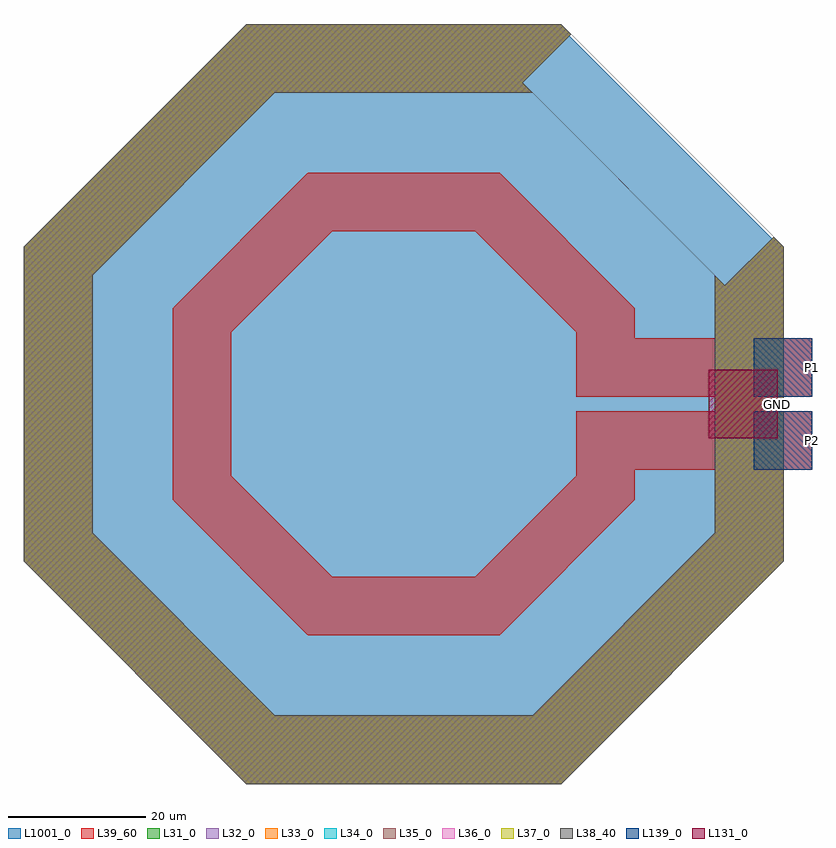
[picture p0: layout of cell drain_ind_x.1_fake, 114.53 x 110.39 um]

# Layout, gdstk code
import gdstk
lib = gdstk.Library(unit=1e-6, precision=1e-09)
def R(c, l, rs):  # rectangles x0, y0, x1, y1
    for r in rs: c.add(gdstk.rectangle(r[:2], r[2:], *l))
def P(c, l, *ps):  # polygons
    for p in ps: c.add(gdstk.Polygon(p, *l))
L31_0 = (31, 0)
L32_0 = (32, 0)
L33_0 = (33, 0)
L34_0 = (34, 0)
L35_0 = (35, 0)
L36_0 = (36, 0)
L37_0 = (37, 0)
L38_40 = (38, 40)
L39_60 = (39, 60)
L131_0 = (131, 0)
L139_0 = (139, 0)
L1001_0 = (1001, 0)

drain_ind_x_1_fake = lib.new_cell('drain_ind_x.1_fake')
P(drain_ind_x_1_fake, L31_0, [(46.662,17.257),(53.733,24.328),(22.863,55.197),(-22.863,55.197),(-55.197,22.863),(-55.197,-22.863),(-22.863,-55.197),(22.863,-55.197),(55.197,-22.863),(55.197,22.863),(24.328,53.733),(17.257,46.662),(45.197,18.721),(45.197,-18.721),(18.721,-45.197),(-18.721,-45.197),(-45.197,-18.721),(-45.197,18.721),(-18.721,45.197),(18.721,45.197)])
P(drain_ind_x_1_fake, L32_0, [(46.662,17.257),(53.733,24.328),(22.863,55.197),(-22.863,55.197),(-55.197,22.863),(-55.197,-22.863),(-22.863,-55.197),(22.863,-55.197),(55.197,-22.863),(55.197,22.863),(24.328,53.733),(17.257,46.662),(45.197,18.721),(45.197,-18.721),(18.721,-45.197),(-18.721,-45.197),(-45.197,-18.721),(-45.197,18.721),(-18.721,45.197),(18.721,45.197)])
P(drain_ind_x_1_fake, L33_0, [(46.662,17.257),(53.733,24.328),(22.863,55.197),(-22.863,55.197),(-55.197,22.863),(-55.197,-22.863),(-22.863,-55.197),(22.863,-55.197),(55.197,-22.863),(55.197,22.863),(24.328,53.733),(17.257,46.662),(45.197,18.721),(45.197,-18.721),(18.721,-45.197),(-18.721,-45.197),(-45.197,-18.721),(-45.197,18.721),(-18.721,45.197),(18.721,45.197)])
P(drain_ind_x_1_fake, L34_0, [(46.662,17.257),(53.733,24.328),(22.863,55.197),(-22.863,55.197),(-55.197,22.863),(-55.197,-22.863),(-22.863,-55.197),(22.863,-55.197),(55.197,-22.863),(55.197,22.863),(24.328,53.733),(17.257,46.662),(45.197,18.721),(45.197,-18.721),(18.721,-45.197),(-18.721,-45.197),(-45.197,-18.721),(-45.197,18.721),(-18.721,45.197),(18.721,45.197)])
P(drain_ind_x_1_fake, L35_0, [(46.662,17.257),(53.733,24.328),(22.863,55.197),(-22.863,55.197),(-55.197,22.863),(-55.197,-22.863),(-22.863,-55.197),(22.863,-55.197),(55.197,-22.863),(55.197,22.863),(24.328,53.733),(17.257,46.662),(45.197,18.721),(45.197,-18.721),(18.721,-45.197),(-18.721,-45.197),(-45.197,-18.721),(-45.197,18.721),(-18.721,45.197),(18.721,45.197)])
P(drain_ind_x_1_fake, L36_0, [(46.662,17.257),(53.733,24.328),(22.863,55.197),(-22.863,55.197),(-55.197,22.863),(-55.197,-22.863),(-22.863,-55.197),(22.863,-55.197),(55.197,-22.863),(55.197,22.863),(24.328,53.733),(17.257,46.662),(45.197,18.721),(45.197,-18.721),(18.721,-45.197),(-18.721,-45.197),(-45.197,-18.721),(-45.197,18.721),(-18.721,45.197),(18.721,45.197)])
P(drain_ind_x_1_fake, L37_0, [(46.662,17.257),(53.733,24.328),(22.863,55.197),(-22.863,55.197),(-55.197,22.863),(-55.197,-22.863),(-22.863,-55.197),(22.863,-55.197),(55.197,-22.863),(55.197,22.863),(24.328,53.733),(17.257,46.662),(45.197,18.721),(45.197,-18.721),(18.721,-45.197),(-18.721,-45.197),(-45.197,-18.721),(-45.197,18.721),(-18.721,45.197),(18.721,45.197)])
P(drain_ind_x_1_fake, L38_40, [(46.662,17.257),(53.733,24.328),(22.863,55.197),(-22.863,55.197),(-55.197,22.863),(-55.197,-22.863),(-22.863,-55.197),(22.863,-55.197),(55.197,-22.863),(55.197,22.863),(24.328,53.733),(17.257,46.662),(45.197,18.721),(45.197,-18.721),(18.721,-45.197),(-18.721,-45.197),(-45.197,-18.721),(-45.197,18.721),(-18.721,45.197),(18.721,45.197)])
R(drain_ind_x_1_fake, L39_60, [(25.085,-9.56,59.335,-1.06), (25.085,1.06,59.335,9.56)])
P(drain_ind_x_1_fake, L39_60, [(25.085,5.31),(33.585,5.31),(33.585,13.91),(13.91,33.585),(-13.91,33.585),(-33.585,13.91),(-33.585,-13.91),(-13.91,-33.585),(13.91,-33.585),(33.585,-13.91),(33.585,-5.31),(25.085,-5.31),(25.085,-10.39),(10.39,-25.085),(-10.39,-25.085),(-25.085,-10.39),(-25.085,10.39),(-10.39,25.085),(10.39,25.085),(25.085,10.39)],
  [(46.662,17.257),(53.733,24.328),(22.863,55.197),(-22.863,55.197),(-55.197,22.863),(-55.197,-22.863),(-22.863,-55.197),(22.863,-55.197),(55.197,-22.863),(55.197,22.863),(24.328,53.733),(17.257,46.662),(45.197,18.721),(45.197,-18.721),(18.721,-45.197),(-18.721,-45.197),(-45.197,-18.721),(-45.197,18.721),(-18.721,45.197),(18.721,45.197)])
R(drain_ind_x_1_fake, L131_0, [(44.335,-5,54.335,5)])
R(drain_ind_x_1_fake, L139_0, [(50.835,-9.56,59.335,-1.06), (50.835,1.06,59.335,9.56)])
P(drain_ind_x_1_fake, L1001_0, [(54.817,22.706),(22.706,54.817),(-22.706,54.817),(-54.817,22.706),(-54.817,-22.706),(-22.706,-54.817),(22.706,-54.817),(54.817,-22.706)],
  [(54.817,22.706),(22.706,54.817),(-22.706,54.817),(-54.817,22.706),(-54.817,-22.706),(-22.706,-54.817),(22.706,-54.817),(54.817,-22.706)],
  [(54.817,22.706),(22.706,54.817),(-22.706,54.817),(-54.817,22.706),(-54.817,-22.706),(-22.706,-54.817),(22.706,-54.817),(54.817,-22.706)],
  [(54.817,22.706),(22.706,54.817),(-22.706,54.817),(-54.817,22.706),(-54.817,-22.706),(-22.706,-54.817),(22.706,-54.817),(54.817,-22.706)],
  [(54.817,22.706),(22.706,54.817),(-22.706,54.817),(-54.817,22.706),(-54.817,-22.706),(-22.706,-54.817),(22.706,-54.817),(54.817,-22.706)],
  [(54.817,22.706),(22.706,54.817),(-22.706,54.817),(-54.817,22.706),(-54.817,-22.706),(-22.706,-54.817),(22.706,-54.817),(54.817,-22.706)],
  [(54.817,22.706),(22.706,54.817),(-22.706,54.817),(-54.817,22.706),(-54.817,-22.706),(-22.706,-54.817),(22.706,-54.817),(54.817,-22.706)],
  [(54.817,22.706),(22.706,54.817),(-22.706,54.817),(-54.817,22.706),(-54.817,-22.706),(-22.706,-54.817),(22.706,-54.817),(54.817,-22.706)],
  [(54.817,22.706),(22.706,54.817),(-22.706,54.817),(-54.817,22.706),(-54.817,-22.706),(-22.706,-54.817),(22.706,-54.817),(54.817,-22.706)])
drain_ind_x_1_fake.add(gdstk.Label('P1', (59.333,5.312), layer=139, texttype=0))
drain_ind_x_1_fake.add(gdstk.Label('P2', (59.333,-5.312), layer=139, texttype=0))
drain_ind_x_1_fake.add(gdstk.Label('GND', (54.333,0), layer=131, texttype=0))

lib.write_gds('drain_ind_x.1_fake.gds')
